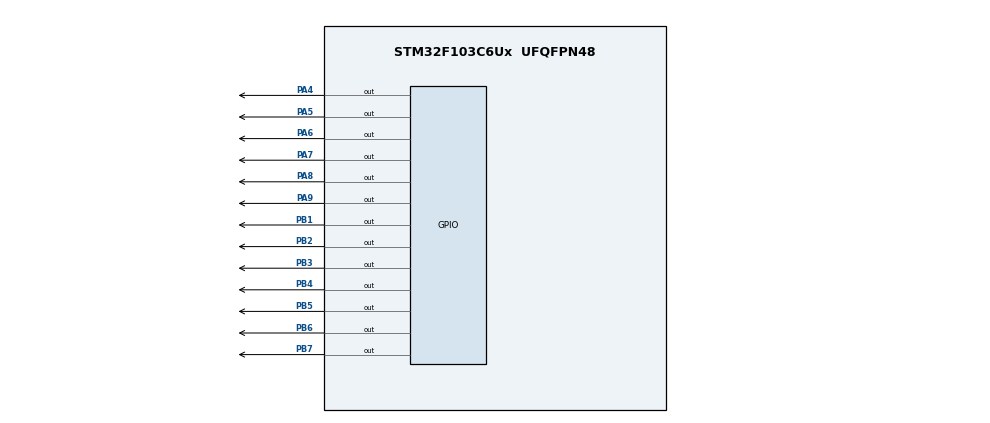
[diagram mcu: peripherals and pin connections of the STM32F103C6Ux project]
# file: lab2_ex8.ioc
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Mcu.Family=STM32F1
Mcu.Name=STM32F103C6Ux
Mcu.Package=UFQFPN48
NVIC.PriorityGroup=NVIC_PRIORITYGROUP_4
NVIC.TIM2_IRQn=true\:0\:0\:false\:false\:true\:true\:true
PA4.Signal=GPIO_Output
PA5.Signal=GPIO_Output
PA6.Signal=GPIO_Output
PA7.Signal=GPIO_Output
PA8.Signal=GPIO_Output
PA9.Signal=GPIO_Output
PB1.Signal=GPIO_Output
PB2.Signal=GPIO_Output
PB3.Signal=GPIO_Output
PB4.Signal=GPIO_Output
PB5.Signal=GPIO_Output
PB6.Signal=GPIO_Output
PB7.Signal=GPIO_Output
ProjectManager.HeapSize=0x200
ProjectManager.StackSize=0x400
ProjectManager.TargetToolchain=STM32CubeIDE
RCC.APB1Freq_Value=8000000
RCC.APB2Freq_Value=8000000
TIM2.Period=9
TIM2.Prescaler=7999
VP_SYS_VS_ND.Mode=No_Debug
VP_TIM2_VS_ClockSourceINT.Mode=Internal
board=custom

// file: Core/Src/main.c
/* USER CODE BEGIN Header */
/**
  ******************************************************************************
  * @file           : main.c
  * @brief          : Main program body
  ******************************************************************************
  * @attention
  *
  * <h2><center>&copy; Copyright (c) 2022 STMicroelectronics.
  * All rights reserved.</center></h2>
  *
  * This software component is licensed by ST under BSD 3-Clause license,
  * the "License"; You may not use this file except in compliance with the
  * License. You may obtain a copy of the License at:
  *                        opensource.org/licenses/BSD-3-Clause
  *
  ******************************************************************************
  */
/* USER CODE END Header */
#include "main.h"
#include "software_timer.h"

TIM_HandleTypeDef htim2;

void SystemClock_Config(void);
static void MX_GPIO_Init(void);
static void MX_TIM2_Init(void);

int hour = 11 , minute = 11 , second = 50;

int main(void)
{

  /* MCU Configuration--------------------------------------------------------*/

  /* Reset of all peripherals, Initializes the Flash interface and the Systick. */
  HAL_Init();

  /* Configure the system clock */
  SystemClock_Config();

  /* Initialize all configured peripherals */
  MX_GPIO_Init();
  MX_TIM2_Init();
  /* USER CODE BEGIN 2 */
  HAL_TIM_Base_Start_IT (& htim2 );
  /* USER CODE END 2 */

  /* Infinite loop */
  /* USER CODE BEGIN WHILE */
  SetTimer1(50);
  int index = 0;
  while (1)
  {

	  if(timer_flag1 == 1){
		  SetTimer1(50);
		  //TODO
		  second++;
		 if (second >= 60){
		second = 0;
		minute++;
				  	 	}
				if (minute >= 60){
				 	minute = 0;
				  	 	hour++;}
				  	  if (hour >= 24){
				  		  hour = 0;
				  	 	 	  }
		HAL_GPIO_TogglePin(GPIOA, GPIO_PIN_5);
			 	 	 updateClockBuffer();
			 	 	 update7SEG(index++);
			 	 	 if (index> 3){index = 0;}
	  }
    /* USER CODE END WHILE */

		 		//TODO

		 	  }
		 	/*if (timer_flag1 == 1){
		 	  SetTimer1(100);
		 	  //TODO
		 	 updateClockBuffer();
		 	  update7SEG(1);
		 	  }
		 	  if(timer_flag1 == 1){
		 		  SetTimer1(100);
		 		  //TODO
		 		 updateClockBuffer();
		 		  update7SEG(2);
		 	  }
		 	  if(timer_flag1 == 1){
		 		  SetTimer1(100);
		 		  //TODO
		 		 updateClockBuffer();
		 		  update7SEG(3);
		 	  }*/
}

void SystemClock_Config(void)
{
  RCC_OscInitTypeDef RCC_OscInitStruct = {0};
  RCC_ClkInitTypeDef RCC_ClkInitStruct = {0};

  /** Initializes the RCC Oscillators according to the specified parameters
  * in the RCC_OscInitTypeDef structure.
  */
  RCC_OscInitStruct.OscillatorType = RCC_OSCILLATORTYPE_HSI;
  RCC_OscInitStruct.HSIState = RCC_HSI_ON;
  RCC_OscInitStruct.HSICalibrationValue = RCC_HSICALIBRATION_DEFAULT;
  RCC_OscInitStruct.PLL.PLLState = RCC_PLL_NONE;
  if (HAL_RCC_OscConfig(&RCC_OscInitStruct) != HAL_OK)
  {
    Error_Handler();
  }
  /** Initializes the CPU, AHB and APB buses clocks
  */
  RCC_ClkInitStruct.ClockType = RCC_CLOCKTYPE_HCLK|RCC_CLOCKTYPE_SYSCLK
                              |RCC_CLOCKTYPE_PCLK1|RCC_CLOCKTYPE_PCLK2;
  RCC_ClkInitStruct.SYSCLKSource = RCC_SYSCLKSOURCE_HSI;
  RCC_ClkInitStruct.AHBCLKDivider = RCC_SYSCLK_DIV1;
  RCC_ClkInitStruct.APB1CLKDivider = RCC_HCLK_DIV1;
  RCC_ClkInitStruct.APB2CLKDivider = RCC_HCLK_DIV1;

  if (HAL_RCC_ClockConfig(&RCC_ClkInitStruct, FLASH_LATENCY_0) != HAL_OK)
  {
    Error_Handler();
  }
}

static void MX_TIM2_Init(void)
{

  TIM_ClockConfigTypeDef sClockSourceConfig = {0};
  TIM_MasterConfigTypeDef sMasterConfig = {0};

  htim2.Instance = TIM2;
  htim2.Init.Prescaler = 7999;
  htim2.Init.CounterMode = TIM_COUNTERMODE_UP;
  htim2.Init.Period = 9;
  htim2.Init.ClockDivision = TIM_CLOCKDIVISION_DIV1;
  htim2.Init.AutoReloadPreload = TIM_AUTORELOAD_PRELOAD_DISABLE;
  if (HAL_TIM_Base_Init(&htim2) != HAL_OK)
  {
    Error_Handler();
  }
  sClockSourceConfig.ClockSource = TIM_CLOCKSOURCE_INTERNAL;
  if (HAL_TIM_ConfigClockSource(&htim2, &sClockSourceConfig) != HAL_OK)
  {
    Error_Handler();
  }
  sMasterConfig.MasterOutputTrigger = TIM_TRGO_RESET;
  sMasterConfig.MasterSlaveMode = TIM_MASTERSLAVEMODE_DISABLE;
  if (HAL_TIMEx_MasterConfigSynchronization(&htim2, &sMasterConfig) != HAL_OK)
  {
    Error_Handler();
  }

}

static void MX_GPIO_Init(void)
{
  GPIO_InitTypeDef GPIO_InitStruct = {0};

  /* GPIO Ports Clock Enable */
  __HAL_RCC_GPIOA_CLK_ENABLE();
  __HAL_RCC_GPIOB_CLK_ENABLE();

  /*Configure GPIO pin Output Level */
  HAL_GPIO_WritePin(GPIOA, GPIO_PIN_4|GPIO_PIN_5|GPIO_PIN_6|GPIO_PIN_7
                          |GPIO_PIN_8|GPIO_PIN_9, GPIO_PIN_RESET);

  /*Configure GPIO pin Output Level */
  HAL_GPIO_WritePin(GPIOB, GPIO_PIN_1|GPIO_PIN_2|GPIO_PIN_3|GPIO_PIN_4
                          |GPIO_PIN_5|GPIO_PIN_6|GPIO_PIN_7, GPIO_PIN_RESET);

  /*Configure GPIO pins : PA4 PA5 PA6 PA7
                           PA8 PA9 */
  GPIO_InitStruct.Pin = GPIO_PIN_4|GPIO_PIN_5|GPIO_PIN_6|GPIO_PIN_7
                          |GPIO_PIN_8|GPIO_PIN_9;
  GPIO_InitStruct.Mode = GPIO_MODE_OUTPUT_PP;
  GPIO_InitStruct.Pull = GPIO_NOPULL;
  GPIO_InitStruct.Speed = GPIO_SPEED_FREQ_LOW;
  HAL_GPIO_Init(GPIOA, &GPIO_InitStruct);

  /*Configure GPIO pins : PB1 PB2 PB3 PB4
                           PB5 PB6 PB7 */
  GPIO_InitStruct.Pin = GPIO_PIN_1|GPIO_PIN_2|GPIO_PIN_3|GPIO_PIN_4
                          |GPIO_PIN_5|GPIO_PIN_6|GPIO_PIN_7;
  GPIO_InitStruct.Mode = GPIO_MODE_OUTPUT_PP;
  GPIO_InitStruct.Pull = GPIO_NOPULL;
  GPIO_InitStruct.Speed = GPIO_SPEED_FREQ_LOW;
  HAL_GPIO_Init(GPIOB, &GPIO_InitStruct);

}

/* USER CODE BEGIN 4 */
void display7SEG (int num){
	switch (num){
	case 0 : {
		 HAL_GPIO_WritePin (GPIOB , GPIO_PIN_1 , GPIO_PIN_RESET );
			  	  HAL_GPIO_WritePin (GPIOB , GPIO_PIN_2 , GPIO_PIN_RESET );
			  	  HAL_GPIO_WritePin (GPIOB , GPIO_PIN_3 , GPIO_PIN_RESET );
			  	  HAL_GPIO_WritePin (GPIOB , GPIO_PIN_4 , GPIO_PIN_RESET );
			  	  HAL_GPIO_WritePin (GPIOB , GPIO_PIN_5 , GPIO_PIN_RESET );
			  	  HAL_GPIO_WritePin (GPIOB , GPIO_PIN_6 , GPIO_PIN_RESET );
			  	  HAL_GPIO_WritePin (GPIOB , GPIO_PIN_7 , GPIO_PIN_SET );

		break;
	}
	case 1 :{
		  HAL_GPIO_WritePin (GPIOB , GPIO_PIN_1 , GPIO_PIN_SET );
			  	 HAL_GPIO_WritePin (GPIOB , GPIO_PIN_2 , GPIO_PIN_RESET );
			  	 HAL_GPIO_WritePin (GPIOB , GPIO_PIN_3 , GPIO_PIN_RESET );
			  	 HAL_GPIO_WritePin (GPIOB , GPIO_PIN_4 , GPIO_PIN_SET );
			  	 HAL_GPIO_WritePin (GPIOB , GPIO_PIN_5 , GPIO_PIN_SET );
			  	 HAL_GPIO_WritePin (GPIOB , GPIO_PIN_6 , GPIO_PIN_SET );
			  	 HAL_GPIO_WritePin (GPIOB , GPIO_PIN_7 , GPIO_PIN_SET );
		break;
	}
	case 2  :{
		HAL_GPIO_WritePin (GPIOB , GPIO_PIN_1 , GPIO_PIN_RESET );
	  	 HAL_GPIO_WritePin (GPIOB , GPIO_PIN_2 , GPIO_PIN_RESET );
	  	 HAL_GPIO_WritePin (GPIOB , GPIO_PIN_3 , GPIO_PIN_SET );
	  	 HAL_GPIO_WritePin (GPIOB , GPIO_PIN_4 , GPIO_PIN_RESET );
	  	 HAL_GPIO_WritePin (GPIOB , GPIO_PIN_5 , GPIO_PIN_RESET );
	  	 HAL_GPIO_WritePin (GPIOB , GPIO_PIN_6 , GPIO_PIN_SET );
	  	 HAL_GPIO_WritePin (GPIOB , GPIO_PIN_7 , GPIO_PIN_RESET );
		break;}
	case 3 :{
		 HAL_GPIO_WritePin (GPIOB , GPIO_PIN_1 , GPIO_PIN_RESET );
		  	  	 	 HAL_GPIO_WritePin (GPIOB , GPIO_PIN_2 , GPIO_PIN_RESET );
		  	  	 	 HAL_GPIO_WritePin (GPIOB , GPIO_PIN_3 , GPIO_PIN_RESET );
		  	  	 	 HAL_GPIO_WritePin (GPIOB , GPIO_PIN_4 , GPIO_PIN_RESET );
		  	  	 	 HAL_GPIO_WritePin (GPIOB , GPIO_PIN_5 , GPIO_PIN_SET );
		  	  	 	 HAL_GPIO_WritePin (GPIOB , GPIO_PIN_6 , GPIO_PIN_SET );
		  	  	 	 HAL_GPIO_WritePin (GPIOB , GPIO_PIN_7 , GPIO_PIN_RESET );

		break;}
	case 4  :{
		HAL_GPIO_WritePin (GPIOB , GPIO_PIN_1 , GPIO_PIN_SET );
			  	  	 		 	 HAL_GPIO_WritePin (GPIOB , GPIO_PIN_2 , GPIO_PIN_RESET );
			  	  	 		 	 HAL_GPIO_WritePin (GPIOB , GPIO_PIN_3 , GPIO_PIN_RESET );
			  	  	 		 	 HAL_GPIO_WritePin (GPIOB , GPIO_PIN_4 , GPIO_PIN_SET );
			  	  	 		 	 HAL_GPIO_WritePin (GPIOB , GPIO_PIN_5 , GPIO_PIN_SET );
			  	  	 		 	 HAL_GPIO_WritePin (GPIOB , GPIO_PIN_6 , GPIO_PIN_RESET );
			  	  	 		 	 HAL_GPIO_WritePin (GPIOB , GPIO_PIN_7 , GPIO_PIN_RESET );

		break;}
	case 5  :{
		 HAL_GPIO_WritePin (GPIOB , GPIO_PIN_1 , GPIO_PIN_RESET );
			  	  		 		 	 HAL_GPIO_WritePin (GPIOB , GPIO_PIN_2 , GPIO_PIN_SET );
			  	  		 		 	 HAL_GPIO_WritePin (GPIOB , GPIO_PIN_3 , GPIO_PIN_RESET );
			  	  		 		 	 HAL_GPIO_WritePin (GPIOB , GPIO_PIN_4 , GPIO_PIN_RESET );
			  	  		 		 	 HAL_GPIO_WritePin (GPIOB , GPIO_PIN_5 , GPIO_PIN_SET );
			  	  		 		 	 HAL_GPIO_WritePin (GPIOB , GPIO_PIN_6 , GPIO_PIN_RESET );
			  	  		 		 	 HAL_GPIO_WritePin (GPIOB , GPIO_PIN_7 , GPIO_PIN_RESET );

		break;}
	case 6  :{
		 HAL_GPIO_WritePin (GPIOB , GPIO_PIN_1 , GPIO_PIN_RESET );
			  	  	 	 HAL_GPIO_WritePin (GPIOB , GPIO_PIN_2 , GPIO_PIN_SET );
			  	  	 	HAL_GPIO_WritePin (GPIOB , GPIO_PIN_3 , GPIO_PIN_RESET );
			  	  	 		 	 HAL_GPIO_WritePin (GPIOB , GPIO_PIN_4 , GPIO_PIN_RESET );
			  	  	 		 	 HAL_GPIO_WritePin (GPIOB , GPIO_PIN_5 , GPIO_PIN_RESET );
			  	  	 		 	 HAL_GPIO_WritePin (GPIOB , GPIO_PIN_6 , GPIO_PIN_RESET );
			  	  	 		 	 HAL_GPIO_WritePin (GPIOB , GPIO_PIN_7 , GPIO_PIN_RESET );

		break;}
	case 7  :{
		 HAL_GPIO_WritePin (GPIOB, GPIO_PIN_1 , GPIO_PIN_RESET );
			  	  	 			 	 HAL_GPIO_WritePin (GPIOB, GPIO_PIN_2 , GPIO_PIN_RESET );
			  	  	 			 	 HAL_GPIO_WritePin (GPIOB , GPIO_PIN_3 , GPIO_PIN_RESET );
			  	  	 			 	 HAL_GPIO_WritePin (GPIOB , GPIO_PIN_4 , GPIO_PIN_SET );
			  	  	 			 	 HAL_GPIO_WritePin (GPIOB , GPIO_PIN_5 , GPIO_PIN_SET );
			  	  	 			 	 HAL_GPIO_WritePin (GPIOB , GPIO_PIN_6 , GPIO_PIN_SET );
			  	  	 			 	 HAL_GPIO_WritePin (GPIOB , GPIO_PIN_7 , GPIO_PIN_SET );

		break;}
	case 8  :{
		 HAL_GPIO_WritePin (GPIOB , GPIO_PIN_1 , GPIO_PIN_RESET );
			  	  	 				 	 HAL_GPIO_WritePin (GPIOB , GPIO_PIN_2 , GPIO_PIN_RESET );
			  	  	 				 	 HAL_GPIO_WritePin (GPIOB , GPIO_PIN_3 , GPIO_PIN_RESET );
			  	  	 				 	 HAL_GPIO_WritePin (GPIOB , GPIO_PIN_4 , GPIO_PIN_RESET );
			  	  	 				 	 HAL_GPIO_WritePin (GPIOB , GPIO_PIN_5 , GPIO_PIN_RESET );
			  	  	 				 	 HAL_GPIO_WritePin (GPIOB , GPIO_PIN_6 , GPIO_PIN_RESET );
			  	  	 				 	 HAL_GPIO_WritePin (GPIOB , GPIO_PIN_7 , GPIO_PIN_RESET );

		break;}
	case 9 :{
		 HAL_GPIO_WritePin (GPIOB , GPIO_PIN_1 , GPIO_PIN_RESET );
			  	  	 					 	 HAL_GPIO_WritePin (GPIOB , GPIO_PIN_2 , GPIO_PIN_RESET );
			  	  	 					 	 HAL_GPIO_WritePin (GPIOB , GPIO_PIN_3 , GPIO_PIN_RESET );
			  	  	 					 	 HAL_GPIO_WritePin (GPIOB , GPIO_PIN_4 , GPIO_PIN_SET );
			  	  	 					 	 HAL_GPIO_WritePin (GPIOB , GPIO_PIN_5 , GPIO_PIN_SET );
			  	  	 					 	 HAL_GPIO_WritePin (GPIOB , GPIO_PIN_6 , GPIO_PIN_RESET );
			  	  	 					 	 HAL_GPIO_WritePin (GPIOB , GPIO_PIN_7 , GPIO_PIN_RESET );

			  	  	 					 break;}
	default :{break;}

	}
}
const int MAX_LED = 10;
int index_led = 0;
int led_buffer [4] = {};
void update7SEG ( int index ){
	switch ( index ){
	case 0:
		 HAL_GPIO_WritePin (GPIOA , GPIO_PIN_7 , GPIO_PIN_SET );
		 HAL_GPIO_WritePin (GPIOA , GPIO_PIN_6 , GPIO_PIN_RESET );
		 HAL_GPIO_WritePin (GPIOA , GPIO_PIN_8 , GPIO_PIN_SET );
		 HAL_GPIO_WritePin (GPIOA , GPIO_PIN_9 , GPIO_PIN_SET );
		display7SEG(led_buffer[0]);
		break;
	case 1:
		 HAL_GPIO_WritePin (GPIOA , GPIO_PIN_7 , GPIO_PIN_RESET );
			 HAL_GPIO_WritePin (GPIOA , GPIO_PIN_6 , GPIO_PIN_SET );
			 HAL_GPIO_WritePin (GPIOA , GPIO_PIN_8 , GPIO_PIN_SET );
			 HAL_GPIO_WritePin (GPIOA , GPIO_PIN_9 , GPIO_PIN_SET );
			display7SEG(led_buffer[1]);
		break;
	case 2:
		 HAL_GPIO_WritePin (GPIOA , GPIO_PIN_7 , GPIO_PIN_SET );
			 HAL_GPIO_WritePin (GPIOA , GPIO_PIN_6 , GPIO_PIN_SET );
			 HAL_GPIO_WritePin (GPIOA , GPIO_PIN_8 , GPIO_PIN_RESET );
			 HAL_GPIO_WritePin (GPIOA , GPIO_PIN_9 , GPIO_PIN_SET );
			display7SEG(led_buffer[2]);
		break;
	case 3:
		 HAL_GPIO_WritePin (GPIOA , GPIO_PIN_7 , GPIO_PIN_SET );
			 HAL_GPIO_WritePin (GPIOA , GPIO_PIN_6 , GPIO_PIN_SET );
			 HAL_GPIO_WritePin (GPIOA , GPIO_PIN_8 , GPIO_PIN_SET );
			 HAL_GPIO_WritePin (GPIOA , GPIO_PIN_9 , GPIO_PIN_RESET );
			display7SEG(led_buffer[3]);
		break;
	default:
		break;
	}
}
void updateClockBuffer(){
	if (minute < 10){
		led_buffer[2]=0;
		led_buffer[3]=minute;
	}
	else{
		led_buffer[2]=minute/10;
		led_buffer[3]=minute%10;
	}
	if (hour < 10){
		led_buffer[0]= 0 ;
		led_buffer[1]= hour;
	}
	else {
	led_buffer[0]= hour/10;
	led_buffer[1]= hour%10;

	}

	}
int counter = 100;
void HAL_TIM_PeriodElapsedCallback (TIM_HandleTypeDef* htim ){
	TimerRun();
	/*counter--;
		if (counter <= 100 && counter >= 76){
		update7SEG(0);
		}
		if (counter <= 75 && counter >= 51){
		update7SEG(1);
		}
		if (counter <= 50 && counter >= 26){
			update7SEG(2);
			}
		if (counter <= 25 && counter >= 0){
			update7SEG(3);
			}
		if (counter == 0){counter = 100;}*/

}
/* USER CODE END 4 */

void Error_Handler(void)
{
  __disable_irq();
  while (1)
  {
  }
}

/************************ (C) COPYRIGHT STMicroelectronics *****END OF FILE****/
